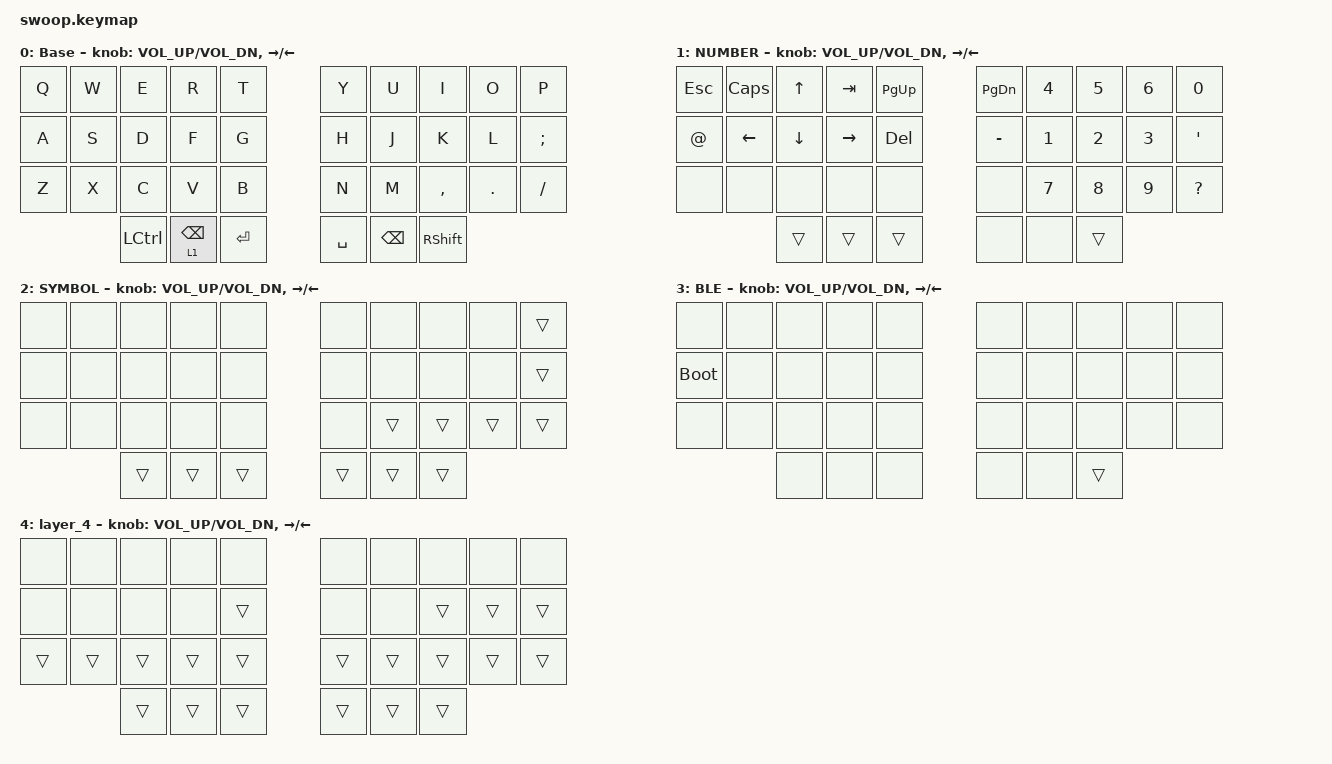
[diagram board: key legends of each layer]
/*
 * Copyright (c) 2020 duckyb
 *
 * SPDX-License-Identifier: MIT
 */

#include <behaviors.dtsi>
#include <dt-bindings/zmk/keys.h>

/ {
    behaviors {
        tab_esc_ctrl: tab_esc_ctrl {
            compatible = "zmk,behavior-tap-dance";
            label = "TAB_ESC_CTRL";
            #binding-cells = <0>;
            bindings = <&mt LCTRL ESC>, <&kp TAB>;
        };

        gqt: global-quick-tap {
            compatible = "zmk,behavior-hold-tap";
            label = "GLOBAL_QUICK_TAP";
            bindings = <&kp>, <&kp>;

            #binding-cells = <2>;
            quick-tap-ms = <180>;
            tapping-term-ms = <200>;
            global-quick-tap;
            flavor = "tap-preferred";
        };

        ltq: ltq {
            compatible = "zmk,behavior-hold-tap";
            label = "LTQ";
            bindings = <&mo>, <&kp>;

            #binding-cells = <2>;
            global-quick-tap;
            tapping-term-ms = <200>;
            quick-tap-ms = <180>;
        };
    };

    combos {
        compatible = "zmk,combos";

        left_bkt {
            bindings = <&kp LBKT>;
            key-positions = <3 2>;
            timeout-ms = <50>;
        };

        right_bkt {
            bindings = <&kp RBKT>;
            key-positions = <6 7>;
            timeout-ms = <50>;
        };

        left_par {
            bindings = <&kp LEFT_PARENTHESIS>;
            key-positions = <12 13>;
            timeout-ms = <50>;
        };

        right_par {
            bindings = <&kp RIGHT_PARENTHESIS>;
            key-positions = <16 17>;
            timeout-ms = <50>;
        };

        left_brace {
            bindings = <&kp LEFT_BRACE>;
            key-positions = <23 22>;
            timeout-ms = <50>;
        };

        right_brace {
            bindings = <&kp RIGHT_BRACE>;
            key-positions = <26 27>;
            timeout-ms = <50>;
        };

        bac {
            bindings = <&kp BACKSLASH>;
            key-positions = <4 5>;
        };

        pipe {
            bindings = <&kp PIPE>;
            key-positions = <14 15>;
        };
    };

    keymap {
        compatible = "zmk,keymap";

        base {
            label = "Base";
            bindings = <
&kp Q  &kp W  &kp E      &kp R            &kp T        &kp Y      &kp U          &kp I            &kp O    &kp P
&kp A  &kp S  &kp D      &kp F            &kp G        &kp H      &kp J          &kp K            &kp L    &kp SEMICOLON
&kp Z  &kp X  &kp C      &kp V            &kp B        &kp N      &kp M          &kp COMMA        &kp DOT  &kp FSLH
              &kp LCTRL  &lt 1 BACKSPACE  &kp ENTER    &kp SPACE  &kp BACKSPACE  &kp RIGHT_SHIFT
            >;

            sensor-bindings = <&inc_dec_kp C_VOL_UP C_VOL_DN &inc_dec_kp RIGHT LEFT>;
        };

        number {
            label = "NUMBER";
            bindings = <
&kp ESC      &kp CAPS        &kp UP_ARROW    &kp TAB    &kp PAGE_UP    &kp PAGE_DOWN  &kp NUMBER_4  &kp NUMBER_5  &kp NUMBER_6  &kp N0
&kp AT_SIGN  &kp LEFT_ARROW  &kp DOWN_ARROW  &kp RIGHT  &kp DEL        &kp MINUS      &kp NUMBER_1  &kp NUMBER_2  &kp NUMBER_3  &kp SQT
&none        &none           &none           &none      &none          &none          &kp NUMBER_7  &kp NUMBER_8  &kp NUMBER_9  &kp QUESTION
                             &trans          &trans     &trans         &none          &none         &trans
            >;

            sensor-bindings = <&inc_dec_kp C_VOL_UP C_VOL_DN &inc_dec_kp RIGHT LEFT>;
        };

        symbol {
            label = "SYMBOL";
            bindings = <
&none  &none  &none   &none   &none     &none   &none   &none   &none   &trans
&none  &none  &none   &none   &none     &none   &none   &none   &none   &trans
&none  &none  &none   &none   &none     &none   &trans  &trans  &trans  &trans
              &trans  &trans  &trans    &trans  &trans  &trans
            >;

            sensor-bindings = <&inc_dec_kp C_VOL_UP C_VOL_DN &inc_dec_kp RIGHT LEFT>;
        };

        ble {
            label = "BLE";
            bindings = <
&none        &none  &none  &none  &none    &none  &none  &none   &none  &none
&bootloader  &none  &none  &none  &none    &none  &none  &none   &none  &none
&none        &none  &none  &none  &none    &none  &none  &none   &none  &none
                    &none  &none  &none    &none  &none  &trans
            >;

            sensor-bindings = <&inc_dec_kp C_VOL_UP C_VOL_DN &inc_dec_kp RIGHT LEFT>;
        };

        layer_4 {
            bindings = <
&none   &none   &none   &none   &none     &none   &none   &none   &none   &none
&none   &none   &none   &none   &trans    &none   &none   &trans  &trans  &trans
&trans  &trans  &trans  &trans  &trans    &trans  &trans  &trans  &trans  &trans
                &trans  &trans  &trans    &trans  &trans  &trans
            >;

            sensor-bindings = <&inc_dec_kp C_VOL_UP C_VOL_DN &inc_dec_kp RIGHT LEFT>;
        };
    };
};
